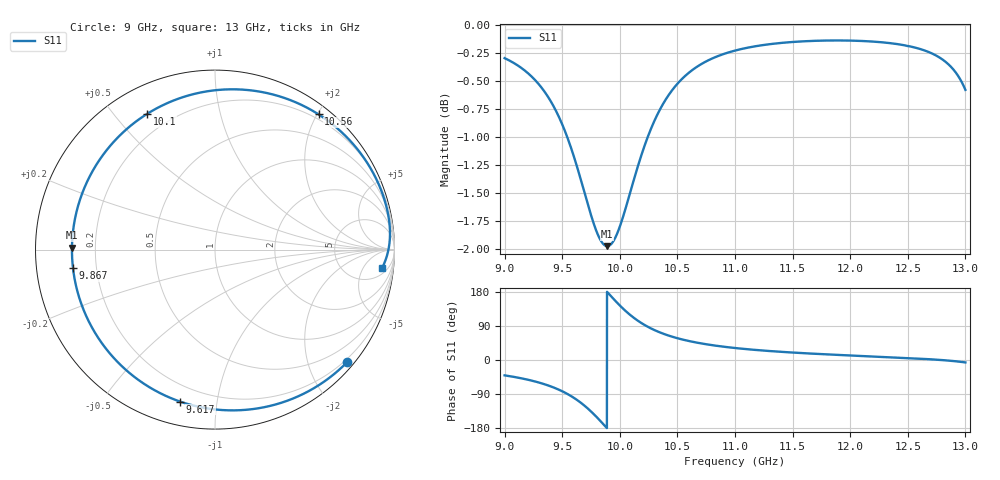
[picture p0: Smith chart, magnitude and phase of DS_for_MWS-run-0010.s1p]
! TOUCHSTONE file generated by CST DESIGN STUDIO
! Date and time: Tue Feb  4 18:25:23 2025
! Project name: C:\Work\MatlabApps\UnitCellOptimizationMatlab\CST\unitcell.cst
! Tree item: Tasks\Sweep1\SPara1\S-Parameters
! Header version: 2024
! Port assignment regex: !\s*Touchstone port\s*([0-9]+)\s*=\s*(CST MWS port|CST DES external port|CST DES block port)\s*(.+)\s* \(\"(.*)\"\)(\s*mode\s*([0-9]+))?.*
! Touchstone port assignment:
! Touchstone port 1 = CST DES external port 1 ("")
# GHz S MA R 50
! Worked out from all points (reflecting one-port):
!   4001 points, 9 GHz to 13 GHz, reference 50 ohm
!   lowest |S11| = -2.0 dB at 9.891 GHz (marker M1), VSWR 8.85, Z = 5.65 + j0.311 ohm
!   phase of S11 starts at -41 deg and turns -326 deg over the sweep
!   S11 on the Smith chart (normalised r, x): 9 GHz: 0.14, -2.70; 9.617 GHz: 0.11, -0.79; 9.867 GHz: 0.11, -0.06; 10.1 GHz: 0.12, +0.61; 10.56 GHz: 0.13, +2.02; 13 GHz: 8, -13
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9  0.9668 -40.5
9.147  0.957 -48.4
9.28  0.9434 -57.9
9.395  0.926 -69.0
9.5  0.9033 -82.5
9.562  0.8862 -92.5
9.617  0.8688 -103.0
9.679  0.8473 -116.9
9.738  0.8268 -132.4
9.807  0.8071 -153.0
9.867  0.7979 -172.7
9.891  0.797 179.3
9.943  0.801 162.0
10  0.8132 143.9
10.05  0.8285 129.4
10.1  0.8457 116.5
10.172  0.8702 100.5
10.254  0.8948 85.9
10.371  0.9216 70.1
10.5  0.9417 57.5
10.564  0.949 52.6
10.756  0.964 41.3
11  0.9744 31.6
11.5  0.983 19.7
12  0.9844 12.0
12.5  0.9789 5.2
12.79  0.9664 -0.0
13  0.9358 -6.4
